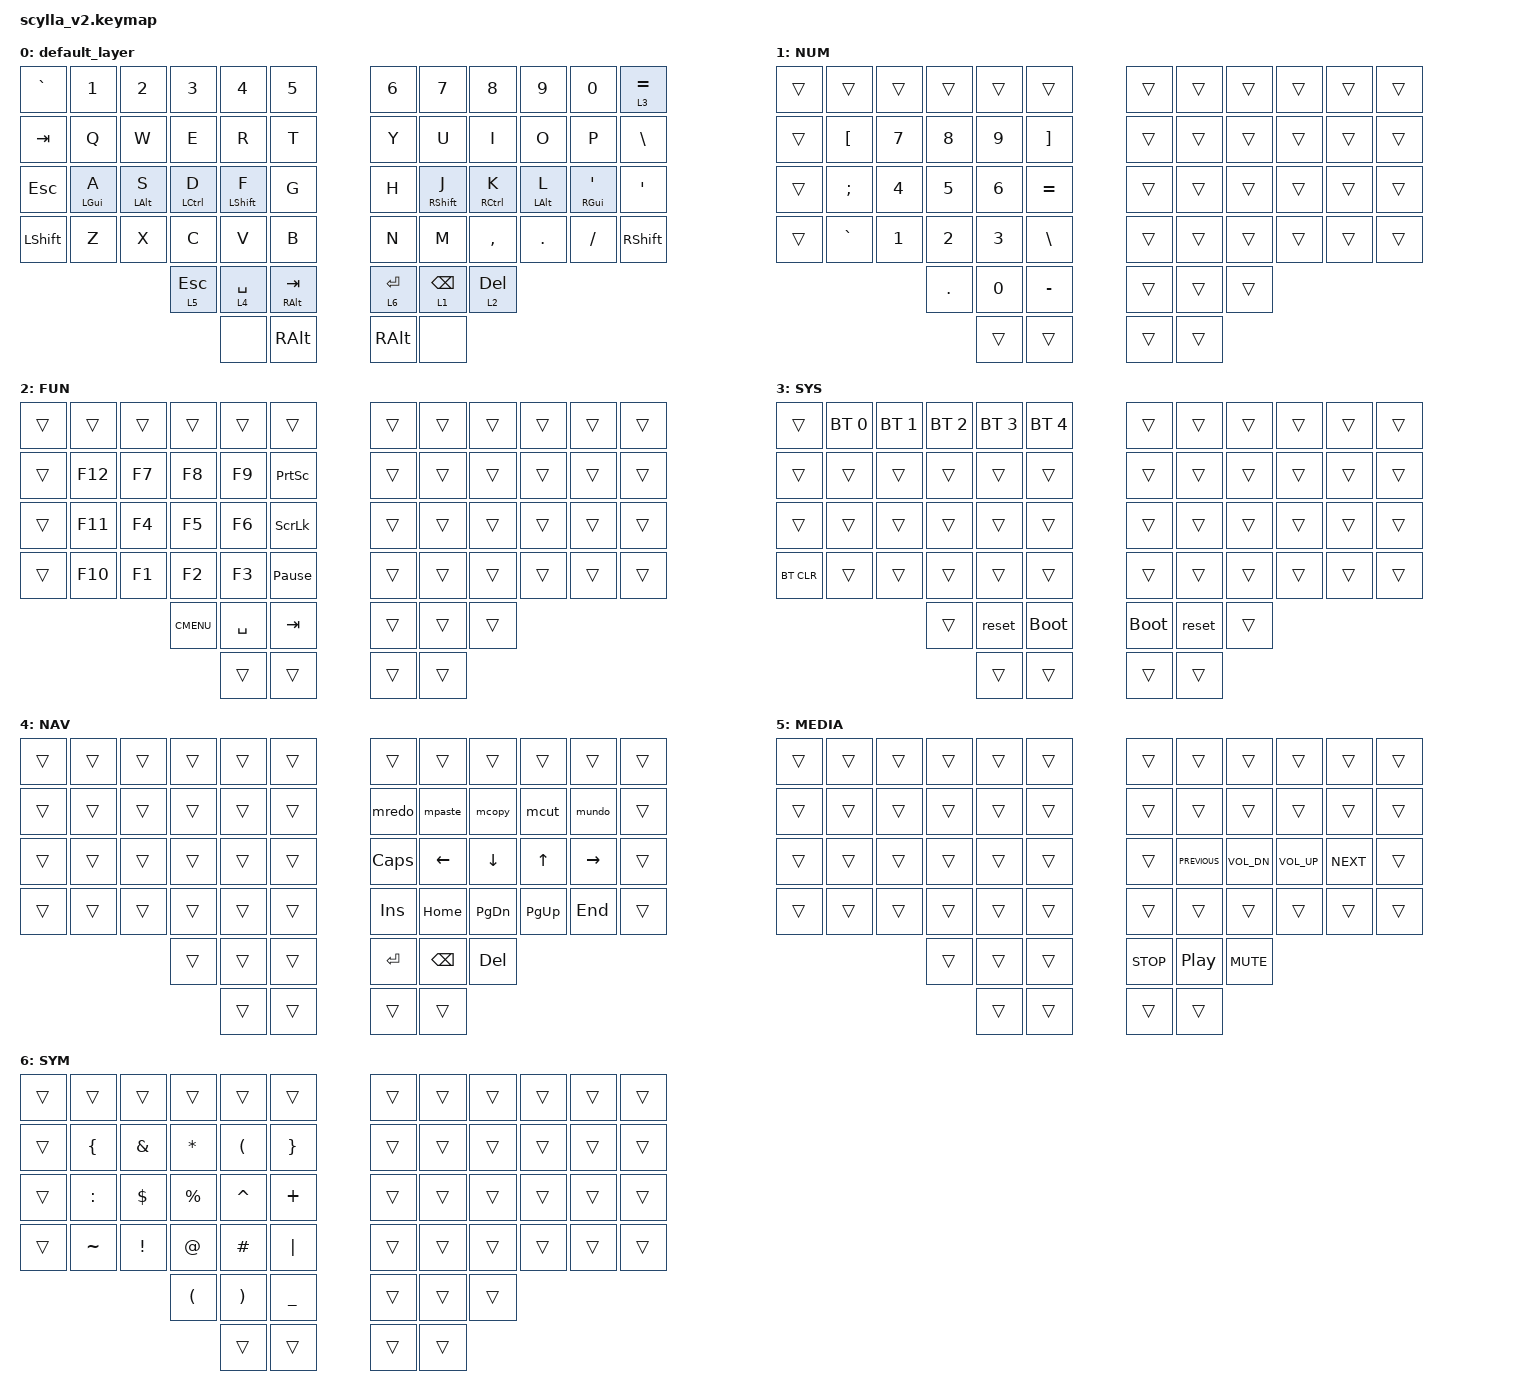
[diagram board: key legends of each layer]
/*
 * Copyright (c) 2020 The ZMK Contributors
 *
 * SPDX-License-Identifier: MIT
 */

#include <behaviors.dtsi>
#include <dt-bindings/zmk/keys.h>
#include <dt-bindings/zmk/bt.h>

#define BASE 0
#define NUM  1
#define FUN  2
#define SYS  3
#define NAV  4
#define MEDIA 5
#define SYM   6

/ {
    behaviors {
         pnk: pinky_positional_hold_tap {
            compatible = "zmk,behavior-hold-tap";
            label = "PINKY_POSITIONAL_HOLD_TAP";
            #binding-cells = <2>;
            flavor = "tap-preferred";
            tapping-term-ms = <300>;// <---[[produces tap if held longer than tapping-term-ms]]
            // quick-tap-ms = <200>;

            bindings =
                <&kp>,
                <&kp>;

            //             hold-trigger-key-positions = <6  7  8  9 10 11
            //                                          18 19 20 21 22 23
            //                                          30 31 32 33 34 35
            //                                          42 43 44 45 46 47
            //                                          51 52 53
            //                                          56 57>;    // <---[[right-hand keys]]
        };
        hml: left_hand_positional_hold_tap {
            compatible = "zmk,behavior-hold-tap";
            label = "LEFT_POSITIONAL_HOLD_TAP";
            #binding-cells = <2>;
            flavor = "tap-preferred";
            tapping-term-ms = <180>;// <---[[produces tap if held longer than tapping-term-ms]]
            // quick-tap-ms = <200>;

            bindings =
                <&kp>,
                <&kp>;

            //             hold-trigger-key-positions = <6  7  8  9 10 11
            //                                          18 19 20 21 22 23
            //                                          30 31 32 33 34 35
            //                                          42 43 44 45 46 47
            //                                          51 52 53
            //                                          56 57>;    // <---[[right-hand keys]]
        };
        hmr: right_hand_positional_hold_tap {
            compatible = "zmk,behavior-hold-tap";
            label = "RIGHT_POSITIONAL_HOLD_TAP";
            #binding-cells = <2>;
            flavor = "tap-preferred";
            tapping-term-ms = <180>;// <---[[produces tap if held longer than tapping-term-ms]]
            // quick-tap-ms = <200>;

            bindings =
                <&kp>,
                <&kp>;

            //             hold-trigger-key-positions = <0  1  2  3  4  5
            //                                          12 13 14 15 16 17
            //                                          24 25 26 27 28 29
            //                                          36 37 38 39 40 41
            //                                                   48 49 50
            //                                                      54 55>;    // <---[[right-hand keys]]
        };
        hmll: left_hand_positional_hold_tap_layer {
            compatible = "zmk,behavior-hold-tap";
            label = "LEFT_POSITIONAL_HOLD_TAP_LAYER";
            #binding-cells = <2>;
            flavor = "tap-preferred";
            tapping-term-ms = <180>;// <---[[produces tap if held longer than tapping-term-ms]]
            // quick-tap-ms = <200>;

            bindings =
                <&mo>,
                <&kp>;

            //            hold-trigger-key-positions = <6  7  8  9 10 11
            //                                          18 19 20 21 22 23
            //                                          30 31 32 33 34 35
            //                                          42 43 44 45 46 47
            //                                          51 52 53
            //                                          56 57>;    // <---[[right-hand keys]]
        };
        hmrl: right_hand_positional_hold_tap_layer {
            compatible = "zmk,behavior-hold-tap";
            label = "RIGHT_POSITIONAL_HOLD_TAP_LAYER";
            #binding-cells = <2>;
            flavor = "tap-preferred";
            tapping-term-ms = <180>;// <---[[produces tap if held longer than tapping-term-ms]]
            // quick-tap-ms = <200>;

            bindings =
                <&mo>,
                <&kp>;

            //             hold-trigger-key-positions = <0  1  2  3  4  5
            //                                          12 13 14 15 16 17
            //                                          24 25 26 27 28 29
            //                                          36 37 38 39 40 41
            //                                                   48 49 50
            //                                                      54 55>;    // <---[[right-hand keys]]
        };
    };

    macros {
        mcopy: mcopy {
            label = "mcopy";
            compatible = "zmk,behavior-macro";
            #binding-cells = <0>;
            bindings =
                <&macro_press>,
                <&kp LCTRL>,
                <&macro_tap>,
                <&kp C>,
                <&macro_release>,
                <&kp LCTRL>;
        };
        mpaste: mpaste {
            label = "mpaste";
            compatible = "zmk,behavior-macro";
            #binding-cells = <0>;
            bindings =
                <&macro_press>,
                <&kp LCTRL>,
                <&macro_tap>,
                <&kp V>,
                <&macro_release>,
                <&kp LCTRL>;
        };
        mcut: mcut {
            label = "mcut";
            compatible = "zmk,behavior-macro";
            #binding-cells = <0>;
            bindings =
                <&macro_press>,
                <&kp LCTRL>,
                <&macro_tap>,
                <&kp X>,
                <&macro_release>,
                <&kp LCTRL>;
        };
        mredo: mredo {
            compatible = "zmk,behavior-macro";
            label = "new_macro";
            #binding-cells = <0>;
            bindings =
                <&macro_press>,
                <&kp LCTRL>,
                <&macro_press>,
                <&kp LSHIFT>,
                <&macro_tap>,
                <&kp Z>,
                <&macro_release>,
                <&kp LSHIFT>,
                <&macro_release>,
                <&kp LCTRL>;
        };
        mundo: mundo {
            compatible = "zmk,behavior-macro";
            label = "new_macro";
            #binding-cells = <0>;
            bindings =
                <&macro_press>,
                <&kp LCTRL>,
                <&macro_tap>,
                <&kp Z>,
                <&macro_release>,
                <&kp LCTRL>;
        };
    };

    keymap {
        compatible = "zmk,keymap";

        default_layer {
            bindings = <
  &kp GRAVE       &kp N1       &kp N2        &kp N3         &kp N4    &kp N5                 &kp N6             &kp N7          &kp N8       &kp N9               &kp N0     &lt 3 EQUAL
    &kp TAB        &kp Q        &kp W         &kp E          &kp R     &kp T                  &kp Y              &kp U           &kp I        &kp O                &kp P        &kp BSLH
    &kp ESC  &pnk LGUI A  &hml LALT S  &hml LCTRL D  &hml LSHIFT F     &kp G                  &kp H      &hmr RSHIFT J    &hmr RCTRL K  &hmr LALT L  &pnk RGUI APOSTROPHE &kp APOSTROPHE
 &kp LSHIFT        &kp Z        &kp X         &kp C          &kp V     &kp B                  &kp N              &kp M        &kp CMMA      &kp DOT            &kp SLASH      &kp RSHIFT
                                        &hmll 5 ESC  &hmll 4 SPACE   &hml RALT TAB    &hmrl 6 ENTER  &hmrl 1 BACKSPACE  &hmrl 2 DELETE
                                                             &none  &kp RALT               &kp RALT              &none
            >;
        };

        NUM {
            bindings = <
 &trans            &trans  &trans   &trans  &trans             &trans          &trans  &trans  &trans  &trans  &trans  &trans
 &trans  &kp LEFT_BRACKET  &kp N7   &kp N8  &kp N9  &kp RIGHT_BRACKET          &trans  &trans  &trans  &trans  &trans  &trans
 &trans     &kp SEMICOLON  &kp N4   &kp N5  &kp N6          &kp EQUAL          &trans  &trans  &trans  &trans  &trans  &trans
 &trans         &kp GRAVE  &kp N1   &kp N2  &kp N3      &kp BACKSLASH          &trans  &trans  &trans  &trans  &trans  &trans
                                   &kp DOT  &kp N0          &kp MINUS          &trans  &trans  &trans
                                            &trans             &trans          &trans  &trans
            >;
        };

        FUN {
            bindings = <
 &trans   &trans  &trans       &trans     &trans           &trans          &trans  &trans  &trans  &trans  &trans  &trans
 &trans  &kp F12  &kp F7       &kp F8     &kp F9  &kp PRINTSCREEN          &trans  &trans  &trans  &trans  &trans  &trans
 &trans  &kp F11  &kp F4       &kp F5     &kp F6   &kp SCROLLLOCK          &trans  &trans  &trans  &trans  &trans  &trans
 &trans  &kp F10  &kp F1       &kp F2     &kp F3  &kp PAUSE_BREAK          &trans  &trans  &trans  &trans  &trans  &trans
                          &kp K_CMENU  &kp SPACE          &kp TAB          &trans  &trans  &trans
                                          &trans           &trans          &trans  &trans
            >;
        };

        SYS {
            bindings = <
     &trans  &bt BT_SEL 0  &bt BT_SEL 1  &bt BT_SEL 2  &bt BT_SEL 3  &bt BT_SEL 4               &trans  &trans  &trans  &trans  &trans  &trans
     &trans        &trans        &trans        &trans        &trans        &trans               &trans  &trans  &trans  &trans  &trans  &trans
     &trans        &trans        &trans        &trans        &trans        &trans               &trans  &trans  &trans  &trans  &trans  &trans
 &bt BT_CLR        &trans        &trans        &trans        &trans        &trans               &trans  &trans  &trans  &trans  &trans  &trans
                                               &trans        &reset   &bootloader          &bootloader  &reset  &trans
                                                             &trans        &trans               &trans  &trans
            >;
        };

        NAV {
            bindings = <
 &trans  &trans  &trans  &trans  &trans  &trans                &trans         &trans         &trans     &trans     &trans  &trans
 &trans  &trans  &trans  &trans  &trans  &trans                &mredo        &mpaste         &mcopy      &mcut     &mundo  &trans
 &trans  &trans  &trans  &trans  &trans  &trans          &kp CAPSLOCK       &kp LEFT       &kp DOWN     &kp UP  &kp RIGHT  &trans
 &trans  &trans  &trans  &trans  &trans  &trans            &kp INSERT       &kp HOME  &kp PAGE_DOWN  &kp PG_UP    &kp END  &trans
                         &trans  &trans  &trans             &kp ENTER  &kp BACKSPACE     &kp DELETE
                                 &trans  &trans                &trans         &trans
            >;
        };

        MEDIA {
            bindings = <
 &trans  &trans  &trans  &trans  &trans  &trans              &trans            &trans        &trans        &trans      &trans  &trans
 &trans  &trans  &trans  &trans  &trans  &trans              &trans            &trans        &trans        &trans      &trans  &trans
 &trans  &trans  &trans  &trans  &trans  &trans              &trans    &kp C_PREVIOUS  &kp C_VOL_DN  &kp C_VOL_UP  &kp C_NEXT  &trans
 &trans  &trans  &trans  &trans  &trans  &trans              &trans            &trans        &trans        &trans      &trans  &trans
                         &trans  &trans  &trans          &kp C_STOP  &kp C_PLAY_PAUSE    &kp C_MUTE
                                 &trans  &trans              &trans            &trans
            >;
        };

        SYM {
            bindings = <
 &trans          &trans           &trans                &trans                 &trans           &trans          &trans  &trans  &trans  &trans  &trans  &trans
 &trans  &kp LEFT_BRACE    &kp AMPERSAND              &kp STAR   &kp LEFT_PARENTHESIS  &kp RIGHT_BRACE          &trans  &trans  &trans  &trans  &trans  &trans
 &trans       &kp COLON       &kp DOLLAR           &kp PERCENT              &kp CARET         &kp PLUS          &trans  &trans  &trans  &trans  &trans  &trans
 &trans       &kp TILDE  &kp EXCLAMATION                &kp AT               &kp HASH         &kp PIPE          &trans  &trans  &trans  &trans  &trans  &trans
                                          &kp LEFT_PARENTHESIS  &kp RIGHT_PARENTHESIS   &kp UNDERSCORE          &trans  &trans  &trans
                                                                               &trans           &trans          &trans  &trans
            >;
        };
    };
};
